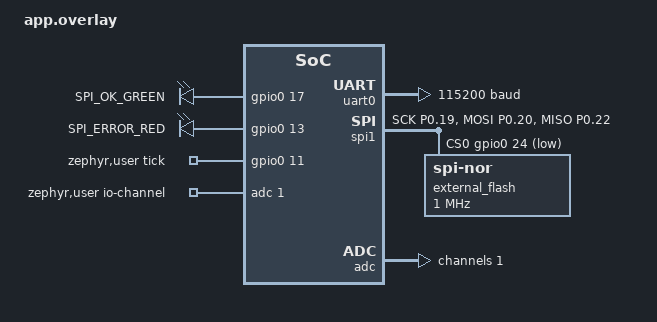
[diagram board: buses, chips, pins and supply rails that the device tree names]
&pinctrl {
	uart0_default: uart0_default {
		group1 {
			psels = <NRF_PSEL(UART_TX, 0, 6)>,
				<NRF_PSEL(UART_RX, 0, 8)>;
		};
	};

	uart0_sleep: uart0_sleep {
		group1 {
			psels = <NRF_PSEL(UART_RX, 0, 8)>;
			low-power-enable;
		};

		group2 {
			psels = <NRF_PSEL(UART_TX, 0, 6)>;
			low-power-enable;
			bias-pull-up;
		};
	};

	spi1_default: spi1_default {
		group1 {
			psels = <NRF_PSEL(SPIM_SCK, 0, 19)>,
				<NRF_PSEL(SPIM_MOSI, 0, 20)>,
				<NRF_PSEL(SPIM_MISO, 0, 22)>;
		};
	};

	spi1_sleep: spi1_sleep {
		group1 {
			psels = <NRF_PSEL(SPIM_SCK, 0, 19)>,
				<NRF_PSEL(SPIM_MOSI, 0, 20)>,
				<NRF_PSEL(SPIM_MISO, 0, 22)>;
			low-power-enable;
		};
	};
};

&uart0 {
	status = "okay";
	current-speed = <115200>;
	/delete-property/ hw-flow-control;
};

&spi1 {
	compatible = "nordic,nrf-spim";
	status = "okay";
	pinctrl-0 = <&spi1_default>;
	pinctrl-1 = <&spi1_sleep>;
	pinctrl-names = "default", "sleep";
	cs-gpios = <&gpio0 24 GPIO_ACTIVE_LOW>;

	external_flash: flash@0 {
		compatible = "jedec,spi-nor";
		reg = <0>;
		spi-max-frequency = <1000000>;
		jedec-id = [9d 60 14];
		size = <0x800000>;
	};
};

/ {
	chosen {
		nordic,pm-ext-flash = &external_flash;
	};

	leds {
		compatible = "gpio-leds";

		debug_led0: debug_led_0 {
			gpios = <&gpio0 17 GPIO_ACTIVE_HIGH>;
			label = "SPI_OK_GREEN";
		};

		debug_led1: debug_led_1 {
			gpios = <&gpio0 13 GPIO_ACTIVE_HIGH>;
			label = "SPI_ERROR_RED";
		};
	};

	aliases {
		debug-led0 = &debug_led0;
		debug-led1 = &debug_led1;
	};

	zephyr,user {
		io-channels = <&adc 1>;
		tick-gpios = <&gpio0 11 GPIO_ACTIVE_HIGH>;
	};
};

&adc {
	#address-cells = <1>;
	#size-cells = <0>;
	status = "okay";

	channel@1 {
		reg = <1>;
		zephyr,gain = "ADC_GAIN_1_6";
		zephyr,reference = "ADC_REF_INTERNAL";
		zephyr,acquisition-time = <ADC_ACQ_TIME_DEFAULT>;
		zephyr,input-positive = <NRF_SAADC_AIN1>;
		zephyr,resolution = <12>;
	};
};
